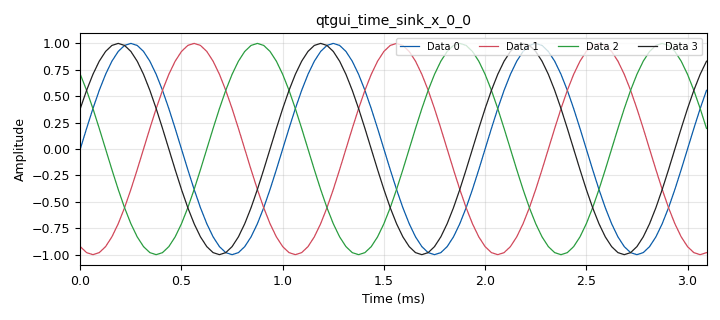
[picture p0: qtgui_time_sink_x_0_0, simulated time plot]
<?xml version='1.0' encoding='utf-8'?>
<?grc format='1' created='3.7.8'?>
<flow_graph>
<block>
<key>options</key>
<param><key>id</key><value>top_block</value></param>
<param><key>category</key><value>Custom</value></param>
<param><key>generate_options</key><value>qt_gui</value></param>
</block>
<block>
<key>variable</key>
<param><key>id</key><value>samp_rate</value></param>
<param><key>value</key><value>32000</value></param>
</block>
<block>
<key>variable_qtgui_range</key>
<param><key>id</key><value>variable_qtgui_range_0</value></param>
<param><key>value</key><value>10</value></param>
<param><key>orient</key><value>Qt.Horizontal</value></param>
<param><key>start</key><value>-100</value></param>
<param><key>step</key><value>1</value></param>
<param><key>stop</key><value>100</value></param>
<param><key>rangeType</key><value>int</value></param>
</block>
<block>
<key>analog_sig_source_x</key>
<param><key>id</key><value>analog_sig_source_x_0</value></param>
<param><key>amp</key><value>1</value></param>
<param><key>freq</key><value>1000</value></param>
<param><key>offset</key><value>0</value></param>
<param><key>type</key><value>complex</value></param>
<param><key>samp_rate</key><value>samp_rate</value></param>
<param><key>waveform</key><value>analog.GR_COS_WAVE</value></param>
</block>
<block>
<key>blocks_complex_to_real</key>
<param><key>id</key><value>blocks_complex_to_real_0</value></param>
</block>
<block>
<key>blocks_complex_to_real</key>
<param><key>id</key><value>blocks_complex_to_real_0_0</value></param>
</block>
<block>
<key>blocks_complex_to_real</key>
<param><key>id</key><value>blocks_complex_to_real_0_1</value></param>
</block>
<block>
<key>blocks_complex_to_real</key>
<param><key>id</key><value>blocks_complex_to_real_0_2</value></param>
</block>
<block>
<key>blocks_delay</key>
<param><key>id</key><value>blocks_delay_0</value></param>
<param><key>delay</key><value>variable_qtgui_range_0</value></param>
<param><key>type</key><value>complex</value></param>
</block>
<block>
<key>blocks_delay</key>
<param><key>id</key><value>blocks_delay_0_0</value></param>
<param><key>delay</key><value>variable_qtgui_range_0*2</value></param>
<param><key>type</key><value>complex</value></param>
</block>
<block>
<key>blocks_delay</key>
<param><key>id</key><value>blocks_delay_0_1</value></param>
<param><key>delay</key><value>variable_qtgui_range_0*3</value></param>
<param><key>type</key><value>complex</value></param>
</block>
<block>
<key>blocks_delay</key>
<param><key>id</key><value>blocks_delay_0_2</value></param>
<param><key>delay</key><value>variable_qtgui_range_0*4</value></param>
<param><key>type</key><value>complex</value></param>
</block>
<block>
<key>blocks_stream_to_vector</key>
<param><key>id</key><value>blocks_stream_to_vector_0</value></param>
<param><key>type</key><value>complex</value></param>
<param><key>num_items</key><value>2**14</value></param>
</block>
<block>
<key>blocks_stream_to_vector</key>
<param><key>id</key><value>blocks_stream_to_vector_0_0</value></param>
<param><key>type</key><value>complex</value></param>
<param><key>num_items</key><value>2**14</value></param>
</block>
<block>
<key>blocks_stream_to_vector</key>
<param><key>id</key><value>blocks_stream_to_vector_0_1</value></param>
<param><key>type</key><value>complex</value></param>
<param><key>num_items</key><value>2**14</value></param>
</block>
<block>
<key>blocks_stream_to_vector</key>
<param><key>id</key><value>blocks_stream_to_vector_0_2</value></param>
<param><key>type</key><value>complex</value></param>
<param><key>num_items</key><value>2**14</value></param>
</block>
<block>
<key>blocks_throttle</key>
<param><key>id</key><value>blocks_throttle_0</value></param>
<param><key>samples_per_second</key><value>samp_rate</value></param>
<param><key>type</key><value>complex</value></param>
</block>
<block>
<key>matlab_doa_cf</key>
<param><key>id</key><value>matlab_doa_cf_0</value></param>
</block>
<block>
<key>qtgui_time_sink_x</key>
<param><key>id</key><value>qtgui_time_sink_x_0</value></param>
<param><key>autoscale</key><value>True</value></param>
<param><key>color1</key><value>"blue"</value></param>
<param><key>label1</key><value></value></param>
<param><key>size</key><value>30</value></param>
<param><key>srate</key><value>samp_rate</value></param>
<param><key>type</key><value>float</value></param>
</block>
<block>
<key>qtgui_time_sink_x</key>
<param><key>id</key><value>qtgui_time_sink_x_0_0</value></param>
<param><key>autoscale</key><value>True</value></param>
<param><key>color1</key><value>"blue"</value></param>
<param><key>label1</key><value></value></param>
<param><key>color2</key><value>"red"</value></param>
<param><key>label2</key><value></value></param>
<param><key>color3</key><value>"green"</value></param>
<param><key>label3</key><value></value></param>
<param><key>color4</key><value>"black"</value></param>
<param><key>label4</key><value></value></param>
<param><key>nconnections</key><value>4</value></param>
<param><key>size</key><value>100</value></param>
<param><key>srate</key><value>samp_rate</value></param>
<param><key>tr_mode</key><value>qtgui.TRIG_MODE_AUTO</value></param>
<param><key>type</key><value>float</value></param>
</block>
<connection><source_block_id>analog_sig_source_x_0</source_block_id><sink_block_id>blocks_throttle_0</sink_block_id><source_key>0</source_key><sink_key>0</sink_key></connection>
<connection><source_block_id>blocks_complex_to_real_0</source_block_id><sink_block_id>qtgui_time_sink_x_0_0</sink_block_id><source_key>0</source_key><sink_key>0</sink_key></connection>
<connection><source_block_id>blocks_complex_to_real_0_0</source_block_id><sink_block_id>qtgui_time_sink_x_0_0</sink_block_id><source_key>0</source_key><sink_key>1</sink_key></connection>
<connection><source_block_id>blocks_complex_to_real_0_1</source_block_id><sink_block_id>qtgui_time_sink_x_0_0</sink_block_id><source_key>0</source_key><sink_key>2</sink_key></connection>
<connection><source_block_id>blocks_complex_to_real_0_2</source_block_id><sink_block_id>qtgui_time_sink_x_0_0</sink_block_id><source_key>0</source_key><sink_key>3</sink_key></connection>
<connection><source_block_id>blocks_delay_0</source_block_id><sink_block_id>blocks_complex_to_real_0</sink_block_id><source_key>0</source_key><sink_key>0</sink_key></connection>
<connection><source_block_id>blocks_delay_0</source_block_id><sink_block_id>blocks_stream_to_vector_0</sink_block_id><source_key>0</source_key><sink_key>0</sink_key></connection>
<connection><source_block_id>blocks_delay_0_0</source_block_id><sink_block_id>blocks_complex_to_real_0_0</sink_block_id><source_key>0</source_key><sink_key>0</sink_key></connection>
<connection><source_block_id>blocks_delay_0_0</source_block_id><sink_block_id>blocks_stream_to_vector_0_0</sink_block_id><source_key>0</source_key><sink_key>0</sink_key></connection>
<connection><source_block_id>blocks_delay_0_1</source_block_id><sink_block_id>blocks_complex_to_real_0_1</sink_block_id><source_key>0</source_key><sink_key>0</sink_key></connection>
<connection><source_block_id>blocks_delay_0_1</source_block_id><sink_block_id>blocks_stream_to_vector_0_1</sink_block_id><source_key>0</source_key><sink_key>0</sink_key></connection>
<connection><source_block_id>blocks_delay_0_2</source_block_id><sink_block_id>blocks_complex_to_real_0_2</sink_block_id><source_key>0</source_key><sink_key>0</sink_key></connection>
<connection><source_block_id>blocks_delay_0_2</source_block_id><sink_block_id>blocks_stream_to_vector_0_2</sink_block_id><source_key>0</source_key><sink_key>0</sink_key></connection>
<connection><source_block_id>blocks_stream_to_vector_0</source_block_id><sink_block_id>matlab_doa_cf_0</sink_block_id><source_key>0</source_key><sink_key>0</sink_key></connection>
<connection><source_block_id>blocks_stream_to_vector_0_0</source_block_id><sink_block_id>matlab_doa_cf_0</sink_block_id><source_key>0</source_key><sink_key>1</sink_key></connection>
<connection><source_block_id>blocks_stream_to_vector_0_1</source_block_id><sink_block_id>matlab_doa_cf_0</sink_block_id><source_key>0</source_key><sink_key>2</sink_key></connection>
<connection><source_block_id>blocks_stream_to_vector_0_2</source_block_id><sink_block_id>matlab_doa_cf_0</sink_block_id><source_key>0</source_key><sink_key>3</sink_key></connection>
<connection><source_block_id>blocks_throttle_0</source_block_id><sink_block_id>blocks_delay_0</sink_block_id><source_key>0</source_key><sink_key>0</sink_key></connection>
<connection><source_block_id>blocks_throttle_0</source_block_id><sink_block_id>blocks_delay_0_0</sink_block_id><source_key>0</source_key><sink_key>0</sink_key></connection>
<connection><source_block_id>blocks_throttle_0</source_block_id><sink_block_id>blocks_delay_0_1</sink_block_id><source_key>0</source_key><sink_key>0</sink_key></connection>
<connection><source_block_id>blocks_throttle_0</source_block_id><sink_block_id>blocks_delay_0_2</sink_block_id><source_key>0</source_key><sink_key>0</sink_key></connection>
<connection><source_block_id>matlab_doa_cf_0</source_block_id><sink_block_id>qtgui_time_sink_x_0</sink_block_id><source_key>0</source_key><sink_key>0</sink_key></connection>
</flow_graph>
